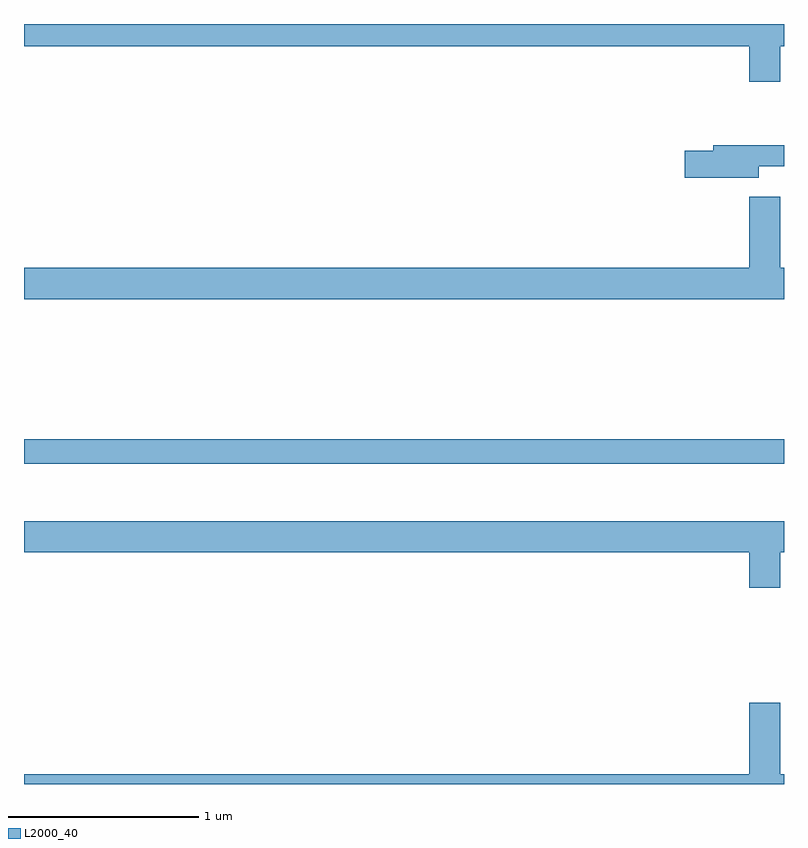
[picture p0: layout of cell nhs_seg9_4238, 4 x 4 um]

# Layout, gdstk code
import gdstk
lib = gdstk.Library(unit=1e-6, precision=1e-09)
def R(c, l, rs):  # rectangles x0, y0, x1, y1
    for r in rs: c.add(gdstk.rectangle(r[:2], r[2:], *l))
def P(c, l, *ps):  # polygons
    for p in ps: c.add(gdstk.Polygon(p, *l))
L2000_40 = (2000, 40)

nhs_seg9_4238 = lib.new_cell('nhs_seg9_4238')
R(nhs_seg9_4238, L2000_40, [(353,1230.186,357,1230.314)])
P(nhs_seg9_4238, L2000_40, [(356.98,1232.384),(357,1232.384),(357,1232.5),(353,1232.5),(353,1232.384),(356.816,1232.384),(356.816,1232.196),(356.98,1232.196)],
  [(356.866,1231.751),(357,1231.751),(357,1231.861),(356.627,1231.861),(356.627,1231.832),(356.478,1231.832),(356.478,1231.69),(356.866,1231.69)],
  [(357,1231.216),(356.98,1231.216),(356.98,1231.591),(356.816,1231.591),(356.816,1231.216),(353,1231.216),(353,1231.052),(357,1231.052)],
  [(356.98,1229.72),(357,1229.72),(357,1229.884),(353,1229.884),(353,1229.72),(356.816,1229.72),(356.816,1229.532),(356.98,1229.532)],
  [(357,1228.552),(356.98,1228.552),(356.98,1228.927),(356.816,1228.927),(356.816,1228.552),(353,1228.552),(353,1228.5),(357,1228.5)])

lib.write_gds('nhs_seg9_4238.gds')
